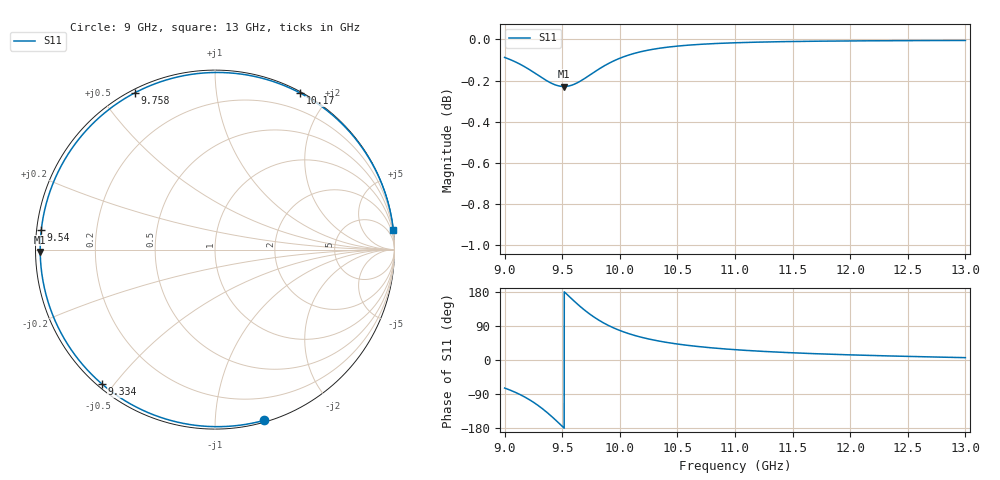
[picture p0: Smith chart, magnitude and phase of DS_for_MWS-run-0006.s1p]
! TOUCHSTONE file generated by CST DESIGN STUDIO
! Date and time: Wed Feb  5 13:28:58 2025
! Project name: C:\Work\MatlabApps\UnitCellOptimizationMatlab\CST\unitcell.cst
! Tree item: Tasks\Sweep1\SPara1\S-Parameters
! Header version: 2024
! Port assignment regex: !\s*Touchstone port\s*([0-9]+)\s*=\s*(CST MWS port|CST DES external port|CST DES block port)\s*(.+)\s* \(\"(.*)\"\)(\s*mode\s*([0-9]+))?.*
! Touchstone port assignment:
! Touchstone port 1 = CST DES external port 1 ("")
# GHz S MA R 50
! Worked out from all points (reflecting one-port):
!   4001 points, 9 GHz to 13 GHz, reference 50 ohm
!   lowest |S11| = -0.2 dB at 9.515 GHz (marker M1), VSWR 75.89, Z = 0.659 - j0.338 ohm
!   phase of S11 starts at -74 deg and turns -280 deg over the sweep
!   S11 on the Smith chart (normalised r, x): 9 GHz: 0.01, -1.33; 9.334 GHz: 0.01, -0.47; 9.54 GHz: 0.01, +0.06; 9.758 GHz: 0.01, +0.61; 10.17 GHz: 0.01, +1.69; 13 GHz: 0, +18
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9  0.99 -74.0
9.09  0.9876 -84.9
9.194  0.9841 -101.0
9.267  0.9812 -114.9
9.334  0.9784 -129.9
9.379  0.9767 -141.2
9.426  0.9752 -153.8
9.464  0.9744 -164.5
9.5  0.974 -174.9
9.515  0.974 -179.2
9.54  0.9741 173.5
9.594  0.975 158.0
9.655  0.9768 141.5
9.706  0.9788 128.8
9.758  0.981 117.1
9.809  0.9832 106.8
9.864  0.9853 97.0
10  0.9895 77.9
10.082  0.9914 69.1
10.17  0.993 61.4
10.32  0.9948 51.1
10.5  0.9963 42.2
10.722  0.9973 34.2
11  0.9981 27.3
11.5  0.9988 19.0
12  0.9992 13.5
12.5  0.9993 9.5
13  0.9994 6.2
